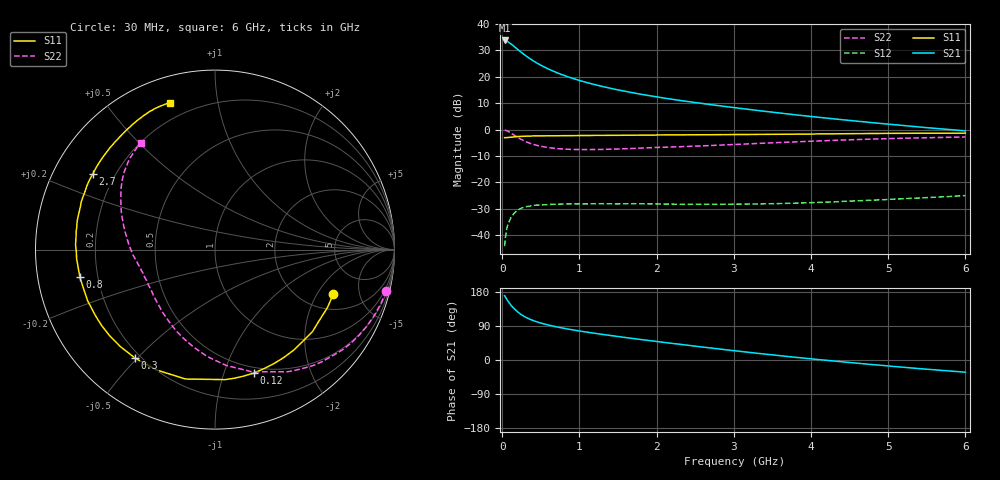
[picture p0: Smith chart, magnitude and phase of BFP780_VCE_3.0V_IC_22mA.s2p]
! Infineon Technologies  Discrete & RF Semiconductors
! BFP780
! VCE =  3.0 V,  IC =  22 mA
! Common Emitter S-Parameters:  Jul 2015
# GHz  S  MA  R  50
!  f  S11  S21  S12  S22
! GHz  MAG  ANG  MAG  ANG  MAG  ANG  MAG  ANG
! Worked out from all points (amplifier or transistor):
!   75 points, 30 MHz to 6 GHz, reference 50 ohm
!   highest |S21| = 33.8 dB at 30 MHz (marker M1)
!   |S21| within 3 dB of that: start of sweep to 183.5 MHz
!   unconditionally stable (mu >= 1): 2.305 GHz to end of sweep
!   at 150 MHz: K = 0.08, MSG = 31.7 dB, |S12| = -31.8 dB
!   at 2.3 GHz: K = 1.00, MSG = 19.7 dB, |S12| = -28.3 dB
!   at 6 GHz: K = 1.39, MAG = 8.5 dB, |S12| = -25.0 dB
!   S11 on the Smith chart (normalised r, x): 30 MHz: 2.83, -2.79; 120 MHz: 0.44, -1.27; 300 MHz: 0.18, -0.49; 800 MHz: 0.13, -0.10; 2.7 GHz: 0.12, +0.28; 6 GHz: 0.12, +0.73
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0.03  0.704 -20.7  48.87 169.7  0.0062 76.4  0.9812 -13.6
0.05  0.7025 -33.9  47.82 162.8  0.0111 70.7  0.9606 -22.4
0.07  0.7073 -46.1  46.27 156.6  0.0153 66.2  0.9336 -30.8
0.09  0.7128 -57.4  44.27 150.7  0.0183 63.1  0.9004 -38.7
0.12  0.7209 -72.5  41.12 142.9  0.0226 54.1  0.8471 -49.6
0.15  0.7266 -85.6  37.97 136.1  0.0258 49.1  0.7921 -59.2
0.2  0.7395 -102.9  33.05 126.7  0.03 41.6  0.7115 -73.1
0.25  0.7456 -116.0  28.85 119.2  0.0326 35.0  0.6484 -84.5
0.3  0.7507 -126.4  25.36 113.1  0.0346 30.3  0.5966 -94.3
0.35  0.7551 -134.4  22.47 108.2  0.0354 26.5  0.556 -102.4
0.4  0.7583 -140.9  20.13 104.1  0.0367 23.6  0.5261 -109.2
0.5  0.7609 -150.8  16.56 97.4  0.0374 19.1  0.4824 -120.7
0.6  0.7646 -158.0  13.99 92.1  0.0382 16.4  0.4561 -129.6
0.8  0.7684 -168.5  10.63 83.6  0.0391 12.3  0.4288 -142.6
1.1  0.7728 -179.2  7.752 73.4  0.0392 9.0  0.4179 -155.6
1.5  0.7802 170.7  5.655 62.0  0.0392 6.8  0.4292 -166.7
2.1  0.7919 158.7  3.956 46.4  0.0388 5.3  0.4629 -178.1
2.7  0.8002 148.3  2.975 31.7  0.0386 6.0  0.4998 171.3
3.1  0.8082 141.8  2.51 22.4  0.0388 7.7  0.5305 164.4
4.1  0.8274 127.2  1.713 1.1  0.0418 11.6  0.6101 149.3
5.1  0.8509 115.6  1.232 -17.5  0.0484 12.9  0.6804 136.1
6  0.8566 107.2  0.946 -32.3  0.0562 10.9  0.7253 124.8
